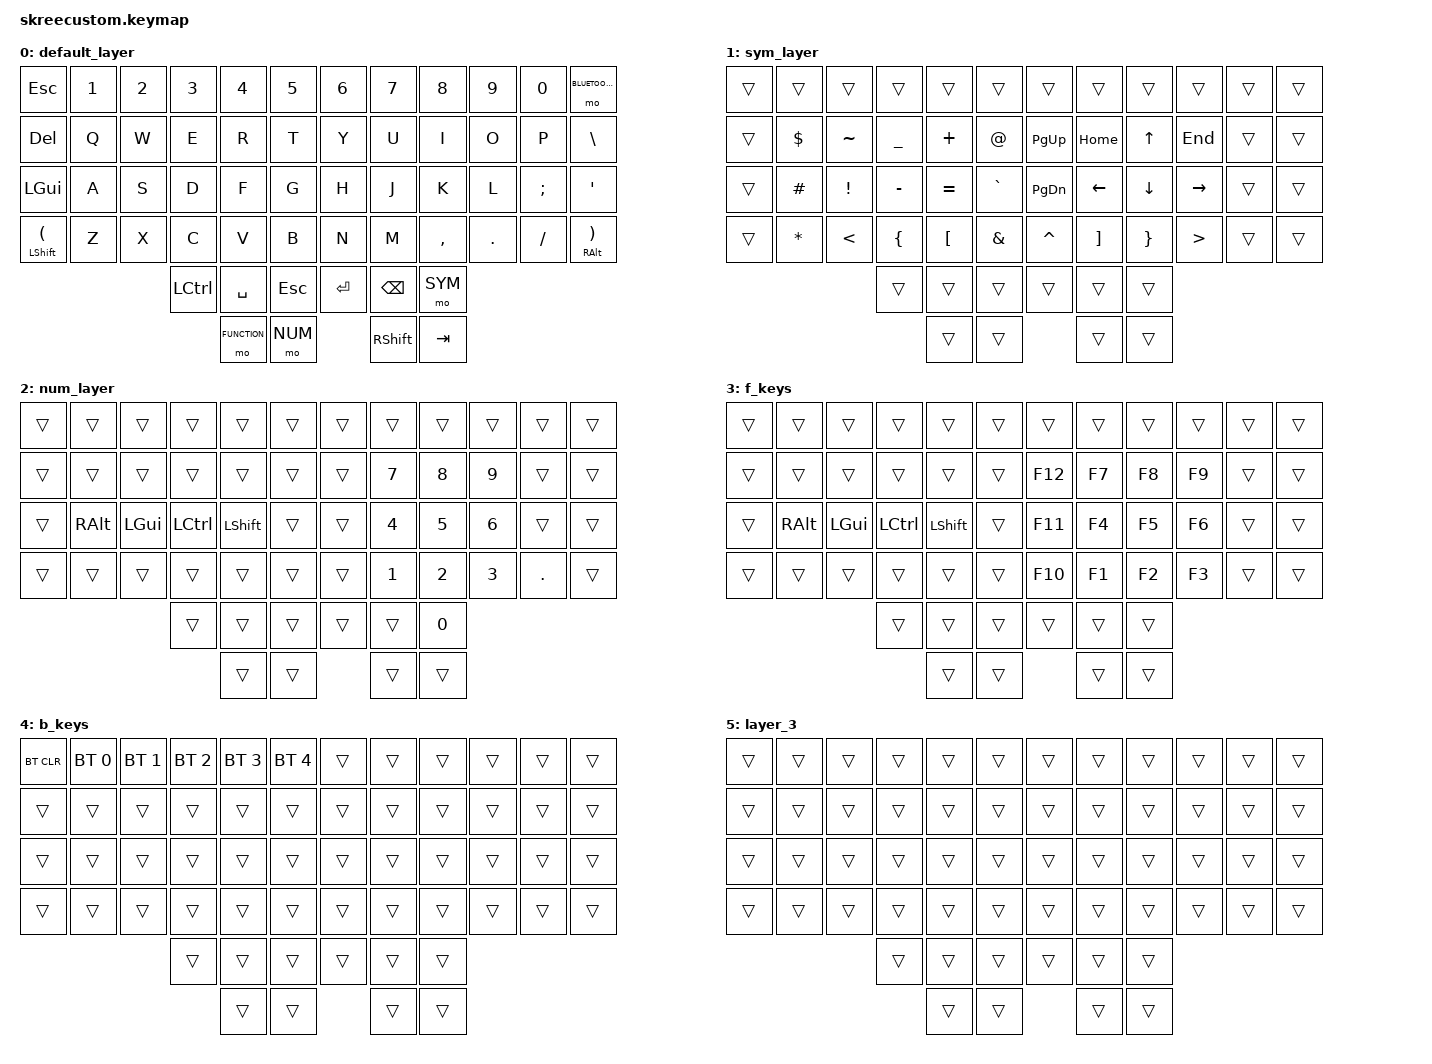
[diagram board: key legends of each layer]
/*
 * Copyright (c) 2020 The ZMK Contributors
 *
 * SPDX-License-Identifier: MIT
 */
//#include <behaviors/mouse_keys.dtsi>

#include <input/processors.dtsi>
#include <dt-bindings/zmk/input_transform.h>
#include <behaviors.dtsi>
#include <dt-bindings/zmk/bt.h>
#include <dt-bindings/zmk/keys.h>
#include <dt-bindings/zmk/rgb.h>

// Layer definitions
#define DEFAULT   0
#define SYM       1  
#define NUM       2
#define FUNCTION  3
#define BLUETOOTH 4
#define LAYER3    5

/ {
    keymap {
        compatible = "zmk,keymap";

        default_layer {
            bindings = <
&kp ESC         &kp N1      &kp N2      &kp N3      &kp N4        &kp N5          &kp N6      &kp N7      &kp N8      &kp N9      &kp N0      &mo BLUETOOTH
&kp DEL         &kp Q       &kp W       &kp E       &kp R         &kp T           &kp Y       &kp U       &kp I       &kp O       &kp P       &kp BSLH
&kp LGUI        &kp A       &kp S       &kp D       &kp F         &kp G           &kp H       &kp J       &kp K       &kp L       &kp SEMI    &kp SQT
&mt LSHFT LPAR  &kp Z       &kp X       &kp C       &kp V         &kp B           &kp N       &kp M       &kp COMMA   &kp DOT     &kp FSLH    &mt RALT RPAR
                                        &kp LCTRL   &kp SPACE     &kp ESC         &kp RET     &kp BSPC    &mo SYM
                                                    &mo FUNCTION  &mo NUM                     &kp RSHFT   &kp TAB
            >;
        };

        sym_layer {
            bindings = <
&trans  &trans      &trans      &trans      &trans      &trans          &trans      &trans      &trans      &trans      &trans      &trans
&trans  &kp DLLR    &kp TILDE   &kp UNDER   &kp PLUS    &kp AT          &kp PG_UP   &kp HOME    &kp UP      &kp END     &trans      &trans
&trans  &kp HASH    &kp EXCL    &kp MINUS   &kp EQUAL   &kp GRAVE       &kp PG_DN   &kp LEFT    &kp DOWN    &kp RIGHT   &trans      &trans
&trans  &kp STAR    &kp LT      &kp LBRC    &kp LBKT    &kp AMPS        &kp CARET   &kp RBKT    &kp RBRC    &kp GT      &trans      &trans
                                &trans      &trans      &trans          &trans      &trans      &trans
                                            &trans      &trans          &trans      &trans
            >;
        };

        num_layer {
            bindings = <
&trans  &trans      &trans      &trans      &trans      &trans          &trans      &trans      &trans      &trans      &trans      &trans
&trans  &trans      &trans      &trans      &trans      &trans          &trans      &kp N7      &kp N8      &kp N9      &trans      &trans
&trans  &kp RALT    &kp LGUI    &kp LCTRL   &kp LSHFT   &trans          &trans      &kp N4      &kp N5      &kp N6      &trans      &trans
&trans  &trans      &trans      &trans      &trans      &trans          &trans      &kp N1      &kp N2      &kp N3      &kp DOT     &trans
                                &trans      &trans      &trans          &trans      &trans      &kp N0
                                            &trans      &trans          &trans      &trans
            >;
        };

        f_keys {
            bindings = <
&trans  &trans      &trans      &trans      &trans      &trans          &trans      &trans      &trans      &trans      &trans      &trans
&trans  &trans      &trans      &trans      &trans      &trans          &kp F12     &kp F7      &kp F8      &kp F9      &trans      &trans
&trans  &kp RALT    &kp LGUI    &kp LCTRL   &kp LSHFT   &trans          &kp F11     &kp F4      &kp F5      &kp F6      &trans      &trans
&trans  &trans      &trans      &trans      &trans      &trans          &kp F10     &kp F1      &kp F2      &kp F3      &trans      &trans
                                &trans      &trans      &trans          &trans      &trans      &trans
                                            &trans      &trans          &trans      &trans
            >;
        };
        b_keys {
            bindings = <
&bt BT_CLR      &bt BT_SEL 0    &bt BT_SEL 1    &bt BT_SEL 2    &bt BT_SEL 3    &bt BT_SEL 4        &trans      &trans      &trans      &trans      &trans      &trans
&trans          &trans          &trans          &trans          &trans          &trans              &trans      &trans      &trans      &trans      &trans      &trans
&trans          &trans          &trans          &trans          &trans          &trans              &trans      &trans      &trans      &trans      &trans      &trans
&trans          &trans          &trans          &trans          &trans          &trans              &trans      &trans      &trans      &trans      &trans      &trans
                                                &trans          &trans          &trans              &trans      &trans      &trans
                                                                &trans          &trans              &trans      &trans
            >;
        };

        layer_3 {
            bindings = <
&trans  &trans      &trans      &trans      &trans      &trans          &trans      &trans      &trans      &trans      &trans      &trans
&trans  &trans      &trans      &trans      &trans      &trans          &trans      &trans      &trans      &trans      &trans      &trans
&trans  &trans      &trans      &trans      &trans      &trans          &trans      &trans      &trans      &trans      &trans      &trans
&trans  &trans      &trans      &trans      &trans      &trans          &trans      &trans      &trans      &trans      &trans      &trans
                                &trans      &trans      &trans          &trans      &trans      &trans
                                            &trans      &trans          &trans      &trans
            >;
        };

    };
};

// //right hand trackball overrides
// &trackball_peripheral_listener {
//     input-processors =
//         <&zip_xy_transform INPUT_TRANSFORM_XY_SWAP>,//this gets it to the default installation orientation
//         <&zip_temp_layer 3 500>;//activate layer 3 within 500ms of the trackball moving
// };
// //left hand trackball overrides
// &trackball_central_listener {
//     input-processors =
//         <&zip_xy_transform INPUT_TRANSFORM_XY_SWAP>,//this gets it to the default installation orientation
//         <&zip_xy_scaler 1 3>,//multiply sensitivity by 1, divide by 3 (make it slower for scrolling)
//         <&zip_xy_to_scroll_mapper>,//make this trackball output scrolling events by default instead of cursor movement
//         <&zip_scroll_transform INPUT_TRANSFORM_Y_INVERT>;//invert vertical scrolling so that the view moves in the same direction as the top of the trackball.
// };
